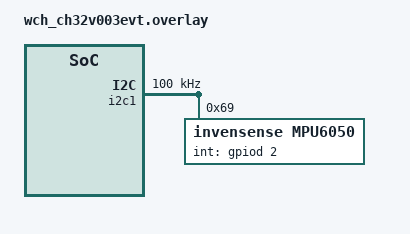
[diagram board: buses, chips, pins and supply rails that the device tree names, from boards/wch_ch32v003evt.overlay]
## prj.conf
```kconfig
#
# Copyright (c) 2019 Nordic Semiconductor ASA
#
# SPDX-License-Identifier: Apache-2.0
#

CONFIG_I2C=y
CONFIG_SENSOR=y
CONFIG_MPU6050_TRIGGER_NONE=y
CONFIG_GPIO=y
CONFIG_CLOCK_CONTROL=y
CONFIG_PINCTRL=y

CONFIG_THREAD_STACK_INFO=n
CONFIG_ERRNO=n
CONFIG_CURRENT_THREAD_USE_TLS=n
CONFIG_TIMESLICING=n
CONFIG_KERNEL_MEM_POOL=n
CONFIG_COMMON_LIBC_MALLOC=n
CONFIG_MINIMAL_LIBC=y
CONFIG_CBPRINTF_NANO=y
CONFIG_CBPRINTF_REDUCED_INTEGRAL=y
CONFIG_CBPRINTF_N_SPECIFIER=n

CONFIG_CONSOLE=y
CONFIG_QINGKEV2_DEBUG_CONSOLE=y
CONFIG_QINGKEV2_DEBUG_CONSOLE_BUFFER=y
```

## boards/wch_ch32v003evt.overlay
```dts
/*
 * Copyright (c) 2024 Google LLC.
 *
 * SPDX-License-Identifier: Apache-2.0
 */

&gpioc {
	status = "okay";
};

&pinctrl {
	i2c1_default: i2c1_default {
		group0 {
			pinmux = <I2C1_SCL_PC2_0>, <I2C1_SDA_PC1_0>;
			drive-open-drain;
		};
	};
};

&i2c1 {
	status = "okay";
	clock-frequency = <100000>;

	pinctrl-0 = <&i2c1_default>;
	pinctrl-names = "default";

	mpu6050@69 {
		compatible = "invensense,mpu6050";
		/* Drotek which is on the alternate address. */
		reg = <0x69>;
		status = "okay";
		int-gpios = <&gpiod 2 GPIO_ACTIVE_HIGH>;
	};
};
```

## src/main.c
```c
/*
 * Copyright (c) 2019 Nordic Semiconductor ASA
 *
 * SPDX-License-Identifier: Apache-2.0
 */

#include <zephyr/kernel.h>
#include <zephyr/device.h>
#include <zephyr/drivers/sensor.h>
#include <stdio.h>

static const char *now_str(void)
{
	static char buf[16]; /* ...HH:MM:SS.MMM */
	uint32_t now = k_uptime_get_32();
	unsigned int ms = now % MSEC_PER_SEC;
	unsigned int s;
	unsigned int min;
	unsigned int h;

	now /= MSEC_PER_SEC;
	s = now % 60U;
	now /= 60U;
	min = now % 60U;
	now /= 60U;
	h = now;

	snprintf(buf, sizeof(buf), "%u:%02u:%02u.%03u", h, min, s, ms);
	return buf;
}

static int process_mpu6050(const struct device *dev)
{
	struct sensor_value temperature;
	struct sensor_value accel[3];
	struct sensor_value gyro[3];
	int rc = sensor_sample_fetch(dev);

	if (rc == 0) {
		rc = sensor_channel_get(dev, SENSOR_CHAN_ACCEL_XYZ, accel);
	}
	if (rc == 0) {
		rc = sensor_channel_get(dev, SENSOR_CHAN_GYRO_XYZ, gyro);
	}
	if (rc == 0) {
		rc = sensor_channel_get(dev, SENSOR_CHAN_DIE_TEMP, &temperature);
	}
	if (rc == 0) {
		printf("[%s]:%d Cel "
		       "  accel %d %d %d m/s/s "
		       "  gyro  %d %d %d rad/s\n",
		       now_str(), temperature.val1, accel[0].val1, accel[1].val1, accel[2].val1,
		       gyro[0].val1, gyro[1].val1, gyro[2].val1);
	} else {
		printf("sample fetch/get failed: %d\n", rc);
	}

	return rc;
}

#ifdef CONFIG_MPU6050_TRIGGER
static struct sensor_trigger trigger;

static void handle_mpu6050_drdy(const struct device *dev, const struct sensor_trigger *trig)
{
	int rc = process_mpu6050(dev);

	if (rc != 0) {
		printf("cancelling trigger due to failure: %d\n", rc);
		(void)sensor_trigger_set(dev, trig, NULL);
		return;
	}
}
#endif /* CONFIG_MPU6050_TRIGGER */

int main(void)
{
	const struct device *const mpu6050 = DEVICE_DT_GET_ONE(invensense_mpu6050);

	if (!device_is_ready(mpu6050)) {
		printf("Device %s is not ready\n", mpu6050->name);
		return 0;
	}

#ifdef CONFIG_MPU6050_TRIGGER
	trigger = (struct sensor_trigger){
		.type = SENSOR_TRIG_DATA_READY,
		.chan = SENSOR_CHAN_ALL,
	};
	if (sensor_trigger_set(mpu6050, &trigger, handle_mpu6050_drdy) < 0) {
		printf("Cannot configure trigger\n");
		return 0;
	}
	printk("Configured for triggered sampling.\n");
#endif

	while (!IS_ENABLED(CONFIG_MPU6050_TRIGGER)) {
		int rc = process_mpu6050(mpu6050);

		if (rc != 0) {
			break;
		}
		//		k_sleep(K_SECONDS(2));
	}

	/* triggered runs with its own thread after exit */
	return 0;
}
```
